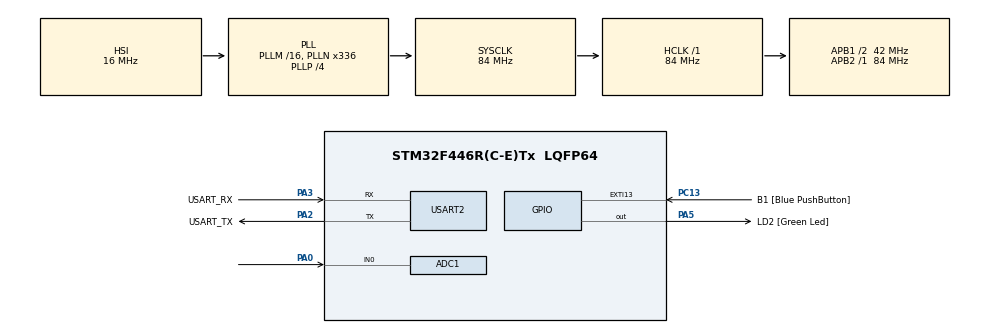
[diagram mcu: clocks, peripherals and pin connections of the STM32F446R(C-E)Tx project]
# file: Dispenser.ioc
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ADC1.Channel-1\#ChannelRegularConversion=ADC_CHANNEL_0
ADC1.NbrOfConversionFlag=1
ADC1.Rank-1\#ChannelRegularConversion=1
ADC1.SamplingTime-1\#ChannelRegularConversion=ADC_SAMPLETIME_3CYCLES
ADC1.master=1
Mcu.Family=STM32F4
Mcu.Name=STM32F446R(C-E)Tx
Mcu.Package=LQFP64
NVIC.PriorityGroup=NVIC_PRIORITYGROUP_0
PA0-WKUP.Signal=ADCx_IN0
PA13.GPIO_Label=TMS
PA13.Mode=Serial_Wire
PA13.Signal=SYS_JTMS-SWDIO
PA14.GPIO_Label=TCK
PA14.Mode=Serial_Wire
PA14.Signal=SYS_JTCK-SWCLK
PA2.GPIO_Label=USART_TX
PA2.Mode=Asynchronous
PA2.Signal=USART2_TX
PA3.GPIO_Label=USART_RX
PA3.Mode=Asynchronous
PA3.Signal=USART2_RX
PA5.GPIO_Label=LD2 [Green Led]
PA5.Signal=GPIO_Output
PB3.GPIO_Label=SWO
PB3.Signal=SYS_JTDO-SWO
PC13.GPIO_Label=B1 [Blue PushButton]
PC13.GPIO_ModeDefaultEXTI=GPIO_MODE_IT_FALLING
PC13.Signal=GPXTI13
PC14-OSC32_IN.Mode=LSE-External-Oscillator
PC14-OSC32_IN.Signal=RCC_OSC32_IN
PC15-OSC32_OUT.Mode=LSE-External-Oscillator
PC15-OSC32_OUT.Signal=RCC_OSC32_OUT
PH0-OSC_IN.Mode=HSE-External-Oscillator
PH0-OSC_IN.Signal=RCC_OSC_IN
PH1-OSC_OUT.Mode=HSE-External-Oscillator
PH1-OSC_OUT.Signal=RCC_OSC_OUT
ProjectManager.HeapSize=0x200
ProjectManager.StackSize=0x400
ProjectManager.TargetToolchain=STM32CubeIDE
RCC.48MHZClocksFreq_Value=84000000
RCC.AHBFreq_Value=84000000
RCC.APB1CLKDivider=RCC_HCLK_DIV2
RCC.APB1Freq_Value=42000000
RCC.APB1TimFreq_Value=84000000
RCC.APB2Freq_Value=84000000
RCC.APB2TimFreq_Value=84000000
RCC.CortexFreq_Value=84000000
RCC.FLatency-AdvancedSettings=FLASH_LATENCY_2
RCC.HCLKFreq_Value=84000000
RCC.HSE_VALUE=8000000
RCC.HSI_VALUE=16000000
RCC.PLLN=336
RCC.PLLP=RCC_PLLP_DIV4
RCC.SYSCLKFreq_VALUE=84000000
RCC.SYSCLKSource=RCC_SYSCLKSOURCE_PLLCLK
RCC.USBFreq_Value=168000000
RCC.VCOOutputFreq_Value=336000000
SH.ADCx_IN0.0=ADC1_IN0,IN0
USART2.VirtualMode=VM_ASYNC
board=NUCLEO-F446RE

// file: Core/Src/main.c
/* USER CODE BEGIN Header */
/**
  ******************************************************************************
  * @file           : main.c
  * @brief          : Main program body
  ******************************************************************************
  * @attention
  *
  * Copyright (c) 2024 STMicroelectronics.
  * All rights reserved.
  *
  * This software is licensed under terms that can be found in the LICENSE file
  * in the root directory of this software component.
  * If no LICENSE file comes with this software, it is provided AS-IS.
  *
  ******************************************************************************
  */
/* USER CODE END Header */
#include "main.h"

/* USER CODE BEGIN PD */
#ifdef 	NUM_STATES
#undef 	NUM_STATES
#endif

#define NUM_STATES	16

/* USER CODE END PD */

ADC_HandleTypeDef hadc1;

UART_HandleTypeDef huart2;

/* USER CODE BEGIN PV */
static
uint16_t states[NUM_STATES] = {0};
/* USER CODE END PV */

void SystemClock_Config(void);
static void MX_GPIO_Init(void);
static void MX_USART2_UART_Init(void);
static void MX_ADC1_Init(void);

/* USER CODE BEGIN 0 */

static
void gen_consec_nums(const uint16_t  start,
					           const uint16_t  incre,
					 	               uint16_t *arr,
					           const   size_t  len)
{
	if (arr == NULL)
	{
    return;
	}

	size_t i;
	uint16_t tmp = start;

	for (i = 0;
		   i < len;
		   i++)
	{
		arr[i] = tmp;
		tmp += incre;
	}
}

/* USER CODE END 0 */

int main(void)
{

  /* MCU Configuration--------------------------------------------------------*/

  /* Reset of all peripherals, Initializes the Flash interface and the Systick. */
  HAL_Init();

  /* Configure the system clock */
  SystemClock_Config();

  /* Initialize all configured peripherals */
  MX_GPIO_Init();
  MX_USART2_UART_Init();
  MX_ADC1_Init();

  /* USER CODE BEGIN 2 */
  gen_consec_nums(5, 2, states, NUM_STATES);
  /* USER CODE END 2 */

  /* Infinite loop */
  /* USER CODE BEGIN WHILE */
  const
  uint32_t TIME = 150;

  while (1)
  {
    /* USER CODE END WHILE */

	  HAL_GPIO_TogglePin(GPIOA, GPIO_PIN_5);
	  HAL_Delay(TIME);

  }
}

void SystemClock_Config(void)
{
  RCC_OscInitTypeDef RCC_OscInitStruct = {0};
  RCC_ClkInitTypeDef RCC_ClkInitStruct = {0};

  /** Configure the main internal regulator output voltage
  */
  __HAL_RCC_PWR_CLK_ENABLE();
  __HAL_PWR_VOLTAGESCALING_CONFIG(PWR_REGULATOR_VOLTAGE_SCALE3);

  /** Initializes the RCC Oscillators according to the specified parameters
  * in the RCC_OscInitTypeDef structure.
  */
  RCC_OscInitStruct.OscillatorType = RCC_OSCILLATORTYPE_HSI;
  RCC_OscInitStruct.HSIState = RCC_HSI_ON;
  RCC_OscInitStruct.HSICalibrationValue = RCC_HSICALIBRATION_DEFAULT;
  RCC_OscInitStruct.PLL.PLLState = RCC_PLL_ON;
  RCC_OscInitStruct.PLL.PLLSource = RCC_PLLSOURCE_HSI;
  RCC_OscInitStruct.PLL.PLLM = 16;
  RCC_OscInitStruct.PLL.PLLN = 336;
  RCC_OscInitStruct.PLL.PLLP = RCC_PLLP_DIV4;
  RCC_OscInitStruct.PLL.PLLQ = 2;
  RCC_OscInitStruct.PLL.PLLR = 2;

  if (HAL_RCC_OscConfig(&RCC_OscInitStruct) != HAL_OK)
  {
    Error_Handler();
  }

  /** Initializes the CPU, AHB and APB buses clocks
  */
  RCC_ClkInitStruct.ClockType = RCC_CLOCKTYPE_HCLK |RCC_CLOCKTYPE_SYSCLK|
                                RCC_CLOCKTYPE_PCLK1|RCC_CLOCKTYPE_PCLK2;
  RCC_ClkInitStruct.SYSCLKSource   = RCC_SYSCLKSOURCE_PLLCLK;
  RCC_ClkInitStruct.AHBCLKDivider  = RCC_SYSCLK_DIV1;
  RCC_ClkInitStruct.APB1CLKDivider = RCC_HCLK_DIV2;
  RCC_ClkInitStruct.APB2CLKDivider = RCC_HCLK_DIV1;

  if (HAL_RCC_ClockConfig(&RCC_ClkInitStruct, FLASH_LATENCY_2) != HAL_OK)
  {
    Error_Handler();
  }
}

static void MX_ADC1_Init(void)
{

  ADC_ChannelConfTypeDef sConfig = {0};

  /** Configure the global features of the ADC (Clock, Resolution, Data Alignment and number of conversion)
  */
  hadc1.Instance = ADC1;
  hadc1.Init.ClockPrescaler = ADC_CLOCK_SYNC_PCLK_DIV4;
  hadc1.Init.Resolution = ADC_RESOLUTION_12B;
  hadc1.Init.ScanConvMode = DISABLE;
  hadc1.Init.ContinuousConvMode = DISABLE;
  hadc1.Init.DiscontinuousConvMode = DISABLE;
  hadc1.Init.ExternalTrigConvEdge = ADC_EXTERNALTRIGCONVEDGE_NONE;
  hadc1.Init.ExternalTrigConv = ADC_SOFTWARE_START;
  hadc1.Init.DataAlign = ADC_DATAALIGN_RIGHT;
  hadc1.Init.NbrOfConversion = 1;
  hadc1.Init.DMAContinuousRequests = DISABLE;
  hadc1.Init.EOCSelection = ADC_EOC_SINGLE_CONV;

  if (HAL_ADC_Init(&hadc1) != HAL_OK)
  {
    Error_Handler();
  }

  /** Configure for the selected ADC regular channel its corresponding rank in the sequencer and its sample time.
  */
  sConfig.Channel = ADC_CHANNEL_0;
  sConfig.Rank = 1;
  sConfig.SamplingTime = ADC_SAMPLETIME_3CYCLES;

  if (HAL_ADC_ConfigChannel(&hadc1, &sConfig) != HAL_OK)
  {
    Error_Handler();
  }

}

static void MX_USART2_UART_Init(void)
{

  huart2.Instance = USART2;
  huart2.Init.BaudRate = 115200;
  huart2.Init.WordLength = UART_WORDLENGTH_8B;
  huart2.Init.StopBits = UART_STOPBITS_1;
  huart2.Init.Parity = UART_PARITY_NONE;
  huart2.Init.Mode = UART_MODE_TX_RX;
  huart2.Init.HwFlowCtl = UART_HWCONTROL_NONE;
  huart2.Init.OverSampling = UART_OVERSAMPLING_16;

  if (HAL_UART_Init(&huart2) != HAL_OK)
  {
    Error_Handler();
  }

}

static void MX_GPIO_Init(void)
{
  GPIO_InitTypeDef GPIO_InitStruct = {0};

  /* GPIO Ports Clock Enable */
  __HAL_RCC_GPIOC_CLK_ENABLE();
  __HAL_RCC_GPIOH_CLK_ENABLE();
  __HAL_RCC_GPIOA_CLK_ENABLE();
  __HAL_RCC_GPIOB_CLK_ENABLE();

  /*Configure GPIO pin Output Level */
  HAL_GPIO_WritePin(LD2_GPIO_Port, LD2_Pin, GPIO_PIN_RESET);

  /*Configure GPIO pin : B1_Pin */
  GPIO_InitStruct.Pin   = B1_Pin;
  GPIO_InitStruct.Mode  = GPIO_MODE_IT_FALLING;
  GPIO_InitStruct.Pull  = GPIO_NOPULL;
  HAL_GPIO_Init(B1_GPIO_Port, &GPIO_InitStruct);

  /*Configure GPIO pin : LD2_Pin */
  GPIO_InitStruct.Pin   = LD2_Pin;
  GPIO_InitStruct.Mode  = GPIO_MODE_OUTPUT_PP;
  GPIO_InitStruct.Pull  = GPIO_NOPULL;
  GPIO_InitStruct.Speed = GPIO_SPEED_FREQ_LOW;
  HAL_GPIO_Init(LD2_GPIO_Port, &GPIO_InitStruct);

}

void Error_Handler(void)
{
  __disable_irq();
  while (1)
  {
  }
}
